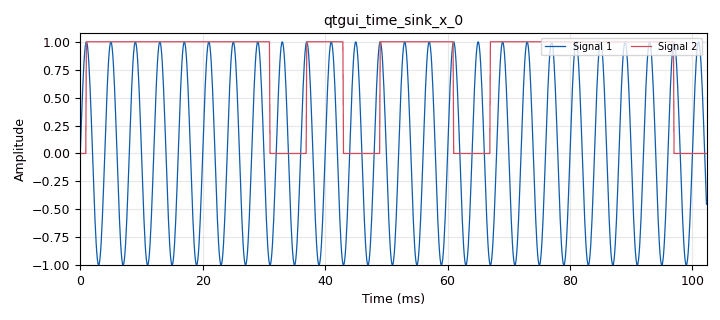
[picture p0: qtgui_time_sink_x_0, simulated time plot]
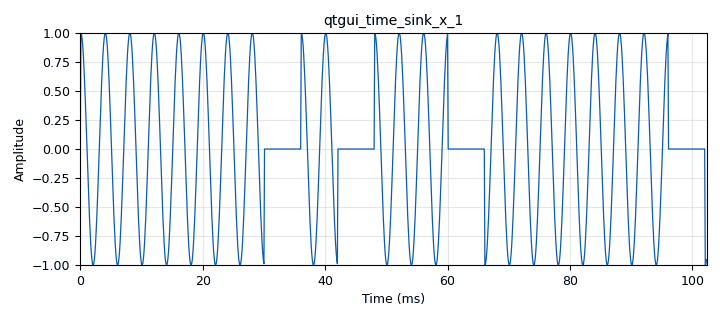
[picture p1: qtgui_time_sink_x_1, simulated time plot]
options:
  parameters:
    generate_options: qt_gui
    id: combined
    output_language: python
    title: Not titled yet
  states: {}

blocks:
- name: samp_rate
  id: variable
  parameters:
    value: '10000'
  states: {}
- name: sq_wave_offset
  id: variable_qtgui_range
  parameters:
    orient: Qt.Horizontal
    start: '0'
    step: '.05'
    stop: '.75'
    value: '0'
  states: {}
- name: analog_sig_source_x_0
  id: analog_sig_source_x
  parameters:
    amp: '1'
    freq: '250'
    offset: '0'
    phase: '0'
    samp_rate: '10000'
    type: float
    waveform: analog.GR_COS_WAVE
  states: {}
- name: analog_sig_source_x_1
  id: analog_sig_source_x
  parameters:
    amp: '1'
    freq: '50'
    offset: '0'
    phase: '0'
    samp_rate: '10000'
    type: float
    waveform: analog.GR_SQR_WAVE
  states: {state: disabled}
- name: blocks_add_const_vxx_0
  id: blocks_add_const_vxx
  parameters:
    const: sq_wave_offset
    type: float
  states: {}
- name: blocks_add_xx_0
  id: blocks_add_xx
  parameters:
    type: complex
  states: {state: disabled}
- name: blocks_multiply_const_vxx_0
  id: blocks_multiply_const_vxx
  parameters:
    const: 1/(1+sq_wave_offset)
    type: float
  states: {}
- name: blocks_multiply_xx_0
  id: blocks_multiply_xx
  parameters:
    type: float
  states: {}
- name: blocks_repeat_0
  id: blocks_repeat
  parameters:
    interp: '60'
    type: float
  states: {}
- name: blocks_vector_source_x_0
  id: blocks_vector_source_x
  parameters:
    repeat: 'True'
    type: float
    vector: (1,0,1,1,0,1,1,1,1,1,0)
  states: {}
- name: qtgui_time_sink_x_0
  id: qtgui_time_sink_x
  parameters:
    nconnections: '2'
    size: '1024'
    srate: samp_rate
    tr_level: '0.1'
    tr_mode: qtgui.TRIG_MODE_AUTO
    type: float
    update_time: '5'
  states: {}
- name: qtgui_time_sink_x_1
  id: qtgui_time_sink_x
  parameters:
    size: '1024'
    srate: samp_rate
    tr_mode: qtgui.TRIG_MODE_AUTO
    type: float
    update_time: '5'
  states: {}

connections:
- [analog_sig_source_x_0, '0', blocks_add_xx_0, '0']
- [analog_sig_source_x_0, '0', blocks_multiply_xx_0, '0']
- [analog_sig_source_x_0, '0', qtgui_time_sink_x_0, '0']
- [analog_sig_source_x_1, '0', blocks_add_xx_0, '1']
- [analog_sig_source_x_1, '0', qtgui_time_sink_x_0, '1']
- [blocks_add_const_vxx_0, '0', blocks_multiply_const_vxx_0, '0']
- [blocks_add_xx_0, '0', qtgui_time_sink_x_1, '0']
- [blocks_multiply_const_vxx_0, '0', blocks_multiply_xx_0, '1']
- [blocks_multiply_xx_0, '0', qtgui_time_sink_x_1, '0']
- [blocks_repeat_0, '0', blocks_add_const_vxx_0, '0']
- [blocks_repeat_0, '0', qtgui_time_sink_x_0, '1']
- [blocks_vector_source_x_0, '0', blocks_repeat_0, '0']

metadata:
  file_format: 1
